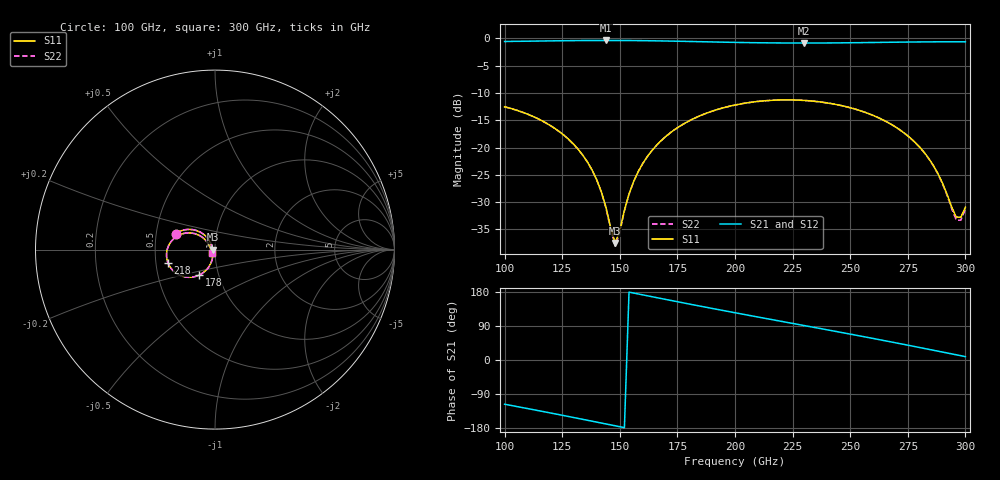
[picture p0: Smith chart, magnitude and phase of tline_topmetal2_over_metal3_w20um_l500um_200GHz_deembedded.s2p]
! Created with skrf 2.2.0 (http://scikit-rf.org).
# GHz S DB R 50.0
! Port[1] = P1
! Port[2] = P2
!freq dBS11 angS11 dBS21 angS21 dBS12 angS12 dBS22 angS22
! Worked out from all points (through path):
!   101 points, 100 GHz to 300 GHz, reference 50 ohm
!   highest |S21| = -0.40 dB at 144 GHz (marker M1); lowest = -0.9 dB at 230 GHz (marker M2)
!   group delay of S21, straight-line fit = 3.24 ps
!   lowest |S11| = -37.5 dB at 148 GHz (marker M3), VSWR 1.03, Z = 48.7 - j0.0982 ohm
!   |S11| at or under -10 dB: start of sweep to end of sweep
!   |S22| runs from -38.1 to -11.3 dB; largest |S21 - S12| = 1.1e-14
!   S11 on the Smith chart (normalised r, x): 100 GHz: 0.63, +0.12; 178 GHz: 0.81, -0.23; 218 GHz: 0.58, -0.10; 300 GHz: 0.96, -0.04
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100  -12.54 157.9  -0.58 -116.7  -0.58 -116.7  -12.54 157.7
120  -16.01 136.5  -0.47 -139.9  -0.47 -139.9  -16.02 136.2
134  -21.43 124.1  -0.41 -156.6  -0.41 -156.6  -21.46 123.6
140  -25.91 123.2  -0.40 -163.9  -0.40 -163.9  -25.96 122.3
144  -30.96 131.2  -0.40 -168.7  -0.40 -168.7  -31.10 129.7
148  -37.48 -175.7  -0.40 -173.6  -0.40 -173.6  -38.06 -175.7
156  -26.23 -107.1  -0.42 176.7  -0.42 176.7  -26.26 -106.1
162  -21.62 -107.6  -0.45 169.4  -0.45 169.4  -21.63 -107.0
168  -18.72 -112.1  -0.48 162.2  -0.48 162.2  -18.72 -111.6
178  -15.60 -121.7  -0.56 150.3  -0.56 150.3  -15.61 -121.4
200  -12.22 -144.8  -0.75 124.7  -0.75 124.7  -12.22 -144.7
218  -11.31 -163.8  -0.85 104.4  -0.85 104.4  -11.32 -163.7
230  -11.38 -176.3  -0.87 90.9  -0.87 90.9  -11.38 -176.3
234  -11.51 179.5  -0.87 86.4  -0.87 86.4  -11.52 179.5
252  -12.95 160.9  -0.81 66.0  -0.81 66.0  -12.95 160.9
268  -15.80 145.3  -0.72 47.4  -0.72 47.4  -15.81 145.1
276  -18.22 138.8  -0.68 37.9  -0.68 37.9  -18.23 138.3
284  -21.95 135.3  -0.66 28.3  -0.66 28.3  -21.98 134.5
290  -26.47 140.0  -0.65 21.1  -0.65 21.1  -26.58 138.7
296  -32.72 179.3  -0.64 13.8  -0.64 13.8  -33.24 178.4
298  -32.78 -153.0  -0.65 11.4  -0.65 11.4  -33.32 -152.0
300  -30.94 -131.2  -0.65 8.9  -0.65 8.9  -31.29 -129.2
